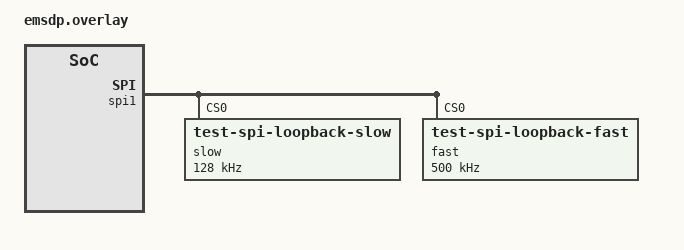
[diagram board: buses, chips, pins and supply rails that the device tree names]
/*
 * Copyright (c) 2023, Synopsys, Inc. All rights reserved.
 *
 * SPDX-License-Identifier: Apache-2.0
 */

&spi1 {
	slow@0 {
		compatible = "test-spi-loopback-slow";
		reg = <0>;
		spi-max-frequency = <DT_FREQ_K(128)>;
	};
	fast@0 {
		compatible = "test-spi-loopback-fast";
		reg = <0>;
		spi-max-frequency = <DT_FREQ_K(500)>;
	};
};
